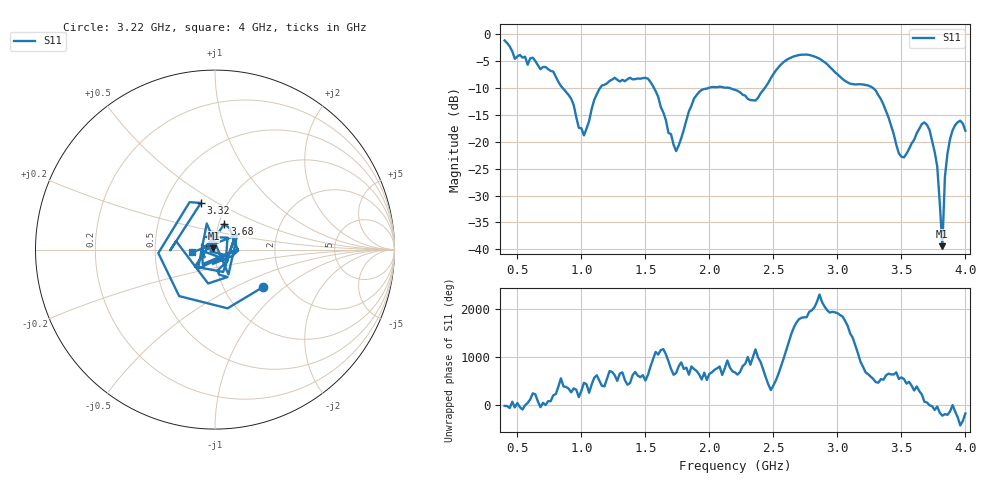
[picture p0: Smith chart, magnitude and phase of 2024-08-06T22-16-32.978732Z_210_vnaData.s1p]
!Created with skrf (http://scikit-rf.org).
# Hz S RI R 50.0
!freq ReS11 ImS11
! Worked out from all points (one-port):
!   181 points, 400 MHz to 4 GHz, reference 50 ohm
!   lowest |S11| = -39.4 dB at 3.82 GHz (marker M1), VSWR 1.02, Z = 49.2 + j0.656 ohm
!   |S11| at or under -10 dB: 854.8 MHz to 1.145 GHz (290.4 MHz wide, 29 % of centre); 1.568 GHz to 1.99 GHz (422.1 MHz wide, 23.7 % of centre); 3.28 GHz to end of sweep (the widest 3 of 4)
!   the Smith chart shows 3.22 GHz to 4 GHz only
!   S11 on the Smith chart (normalised r, x): 3.22 GHz: 1.52, -0.72; 3.32 GHz: 0.75, +0.42; 3.68 GHz: 1.06, +0.31; 4 GHz: 0.78, -0.02
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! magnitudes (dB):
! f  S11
! 400 MHz  -1.1
! 480 MHz  -4.5
! 620 MHz  -4.3
! 860 MHz  -10.1
! 1.02 GHz  -18.8
! 1.14 GHz  -10.2
! 1.3 GHz  -8.8
! 1.52 GHz  -8.2
! 1.74 GHz  -21.7
! 1.76 GHz  -20.7
! 1.92 GHz  -10.7
! 2.2 GHz  -10.3
! 2.36 GHz  -12.3
! 2.66 GHz  -4.1
! 2.86 GHz  -4.5
! 3.1 GHz  -9.2
! 3.22 GHz  -9.4
! 3.32 GHz  -11.3
! 3.48 GHz  -22.1
! 3.56 GHz  -21.3
! 3.68 GHz  -16.4
! 3.72 GHz  -17.8
! 3.78 GHz  -24.6
! 3.82 GHz  -39.4
! 3.84 GHz  -26.5
! 3.88 GHz  -19.5
! 3.96 GHz  -16.1
! 4 GHz  -17.9
